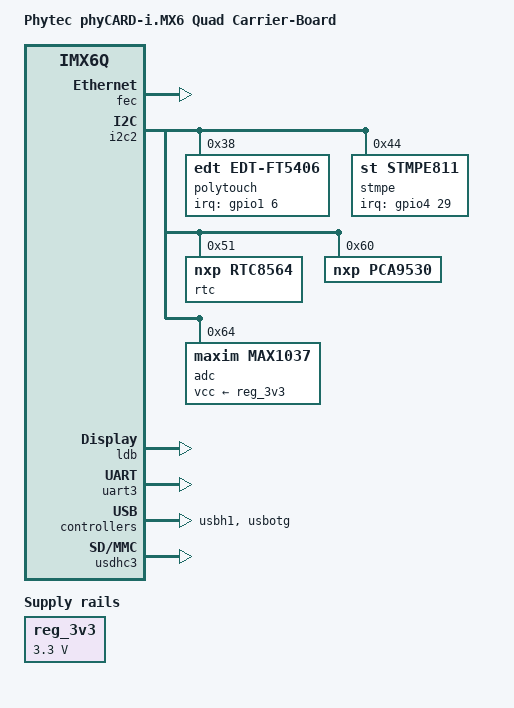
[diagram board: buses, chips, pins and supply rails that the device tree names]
/*
 * Copyright 2014 Christian Hemp, Phytec Messtechnik GmbH
 *
 * The code contained herein is licensed under the GNU General Public
 * License. You may obtain a copy of the GNU General Public License
 * Version 2 or later at the following locations:
 *
 * http://www.opensource.org/licenses/gpl-license.html
 * http://www.gnu.org/copyleft/gpl.html
 */

/dts-v1/;
#include "imx6q-phytec-pcaaxl3.dtsi"
#include "imx6qdl-phytec-lcd-018.dtsi"

/ {
	model = "Phytec phyCARD-i.MX6 Quad Carrier-Board";
	compatible = "phytec,imx6q-pbaa03", "phytec,imx6q-pcaaxl3", "fsl,imx6q";

	chosen {
		linux,stdout-path = &uart3;
	};

	regulators {
		reg_3v3: regulator@2 {
                        compatible = "regulator-fixed";
                        reg = <2>;
                        regulator-name = "3V3";
                        regulator-min-microvolt = <3300000>;
                        regulator-max-microvolt = <3300000>;
                        regulator-always-on;
                };
	};
};

&fec {
	status = "okay";
};

&i2c2 {
	status = "okay";

	polytouch: edt-ft5x06@38 {
		compatible = "edt,edt-ft5406", "edt,edt-ft5x06";
		reg = <0x38>;
		pinctrl-names = "default";
		pinctrl-0 = <&pinctrl_edt_ft5x06>;
		interrupt-parent = <&gpio1>;
		interrupts = <6 0>;
	};

	stmpe@44 {
		compatible = "st,stmpe811";
		reg = <0x44>;
		interrupt-parent = <&gpio4>;
		interrupts = <29 0>;
	};

	rtc@51 {
		compatible = "nxp,rtc8564";
		reg = <0x51>;
	};

	pca9530@60 {
		compatible = "nxp,pca9530";
		reg = <0x60>;
	};	

	adc@64 {
		compatible = "maxim,max1037";
		vcc-supply = <&reg_3v3>;
		reg = <0x64>;
	};
	
};

&ldb {
	status = "okay";

	lvds-channel@0 {
		status = "okay";
	};
};

&uart3 {
	status = "okay";
};

&usbh1 {
	status = "okay";
};

&usbotg {
	status = "okay";
};

&usdhc3 {
	status = "okay";
};
